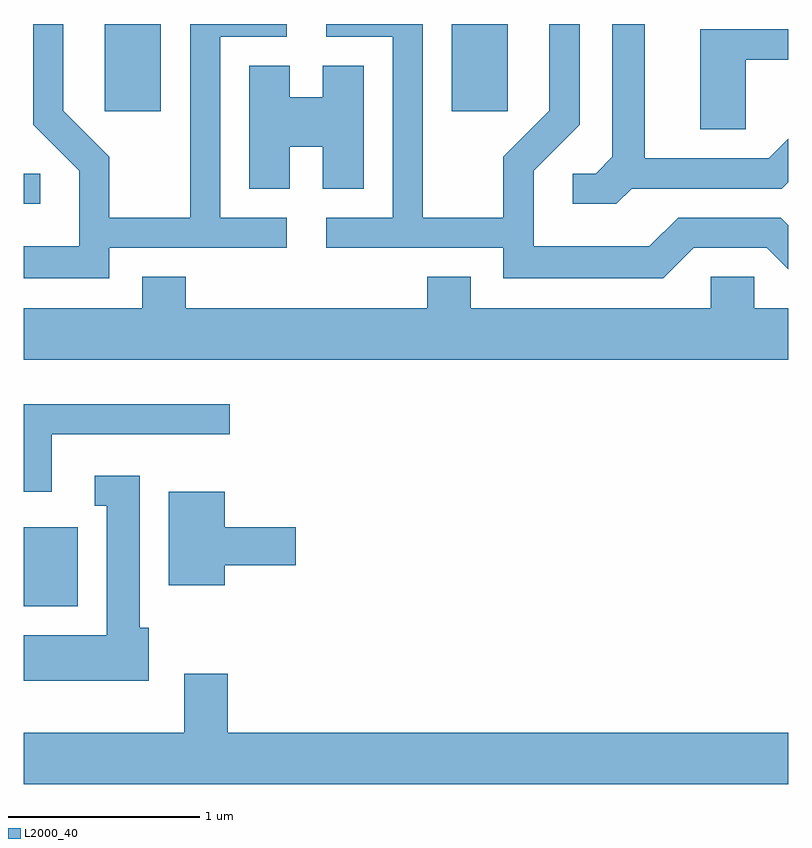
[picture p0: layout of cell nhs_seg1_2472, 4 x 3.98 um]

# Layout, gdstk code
import gdstk
lib = gdstk.Library(unit=1e-6, precision=1e-09)
def R(c, l, rs):  # rectangles x0, y0, x1, y1
    for r in rs: c.add(gdstk.rectangle(r[:2], r[2:], *l))
def P(c, l, *ps):  # polygons
    for p in ps: c.add(gdstk.Polygon(p, *l))
L2000_40 = (2000, 40)

nhs_seg1_2472 = lib.new_cell('nhs_seg1_2472')
R(nhs_seg1_2472, L2000_40, [(259.611,962.666,259.894,963.079), (259.611,964.771,259.698,964.929), (260.036,965.256,260.329,965.712), (261.851,965.256,262.144,965.712)])
P(nhs_seg1_2472, L2000_40, [(260.059,964.541),(260.988,964.541),(260.988,964.699),(260.639,964.699),(260.639,965.646),(260.988,965.646),(260.988,965.712),(260.481,965.712),(260.481,964.699),(260.059,964.699),(260.059,965.017),(259.819,965.257),(259.819,965.712),(259.661,965.712),(259.661,965.184),(259.901,964.944),(259.901,964.549),(259.611,964.549),(259.611,964.381),(260.059,964.381)],
  [(262.792,964.851),(263.577,964.851),(263.611,964.885),(263.611,965.112),(263.509,965.009),(262.859,965.009),(262.859,965.712),(262.691,965.712),(262.691,965.017),(262.604,964.929),(262.483,964.929),(262.483,964.771),(262.712,964.771)],
  [(263.117,964.541),(263.499,964.541),(263.611,964.429),(263.611,964.66),(263.572,964.699),(263.034,964.699),(262.884,964.549),(262.279,964.549),(262.279,964.944),(262.519,965.184),(262.519,965.712),(262.361,965.712),(262.361,965.257),(262.121,965.017),(262.121,964.699),(261.699,964.699),(261.699,965.712),(261.193,965.712),(261.193,965.646),(261.541,965.646),(261.541,964.699),(261.193,964.699),(261.193,964.541),(262.121,964.541),(262.121,964.381),(262.957,964.381)],
  [(263.389,965.526),(263.611,965.526),(263.611,965.684),(263.151,965.684),(263.151,965.161),(263.389,965.161)],
  [(261.004,965.071),(261.176,965.071),(261.176,964.851),(261.389,964.851),(261.389,965.494),(261.176,965.494),(261.176,965.329),(261.004,965.329),(261.004,965.494),(260.791,965.494),(260.791,964.851),(261.004,964.851)],
  [(263.611,964.224),(263.434,964.224),(263.434,964.389),(263.206,964.389),(263.206,964.224),(261.949,964.224),(261.949,964.389),(261.721,964.389),(261.721,964.224),(260.459,964.224),(260.459,964.389),(260.231,964.389),(260.231,964.224),(259.611,964.224),(259.611,963.956),(263.611,963.956)],
  [(259.759,963.566),(260.688,963.566),(260.688,963.724),(259.611,963.724),(259.611,963.266),(259.759,963.266)],
  [(260.264,962.554),(260.219,962.554),(260.219,963.349),(259.983,963.349),(259.983,963.191),(260.046,963.191),(260.046,962.514),(259.611,962.514),(259.611,962.276),(260.264,962.276)],
  [(260.664,962.881),(261.034,962.881),(261.034,963.079),(260.664,963.079),(260.664,963.264),(260.371,963.264),(260.371,962.776),(260.664,962.776)],
  [(263.611,962.004),(260.679,962.004),(260.679,962.314),(260.451,962.314),(260.451,962.004),(259.611,962.004),(259.611,961.736),(263.611,961.736)])

lib.write_gds('nhs_seg1_2472.gds')
